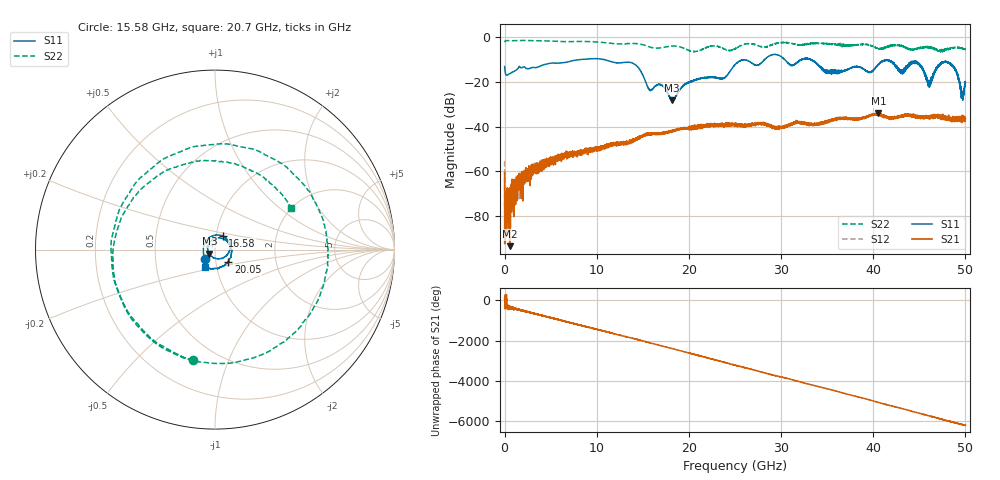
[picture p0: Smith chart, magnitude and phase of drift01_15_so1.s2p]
!Created with skrf (http://scikit-rf.org).
# Hz S RI R 50.0
!freq ReS11 ImS11 ReS21 ImS21 ReS12 ImS12 ReS22 ImS22
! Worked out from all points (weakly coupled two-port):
!   10001 points, 300 kHz to 50 GHz, reference 50 ohm
!   highest |S21| = -33.99 dB at 40.56 GHz (marker M1); lowest = -93.6 dB at 550.3 MHz (marker M2)
!   lowest |S11| = -28.2 dB at 18.15 GHz (marker M3), VSWR 1.08, Z = 46.9 - j2.11 ohm
!   |S11| at or under -10 dB: 10.87 GHz to 25.98 GHz (15.12 GHz wide, 82 % of centre); 33.26 GHz to 41.4 GHz (8.138 GHz wide, 21.8 % of centre); 41.41 GHz to end of sweep (the widest 3 of 13)
!   |S22| runs from -6.5 to -1.4 dB; largest |S21 - S12| = 0.0036
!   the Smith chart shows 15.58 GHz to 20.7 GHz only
!   S11 on the Smith chart (normalised r, x): 15.58 GHz: 0.89, -0.09; 16.58 GHz: 1.08, +0.16; 20.05 GHz: 1.15, -0.16; 20.7 GHz: 0.88, -0.17
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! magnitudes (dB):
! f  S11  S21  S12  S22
! 300 kHz  -13.1  -60.6  -55.4  -2.1
! 255.3 MHz  -16.9  -80.4  -72.9  -1.4
! 550.3 MHz  -16.3  -93.6  -70.7  -1.5
! 3.195 GHz  -13.5  -59.7  -57.8  -1.5
! 8.335 GHz  -9.9  -51.8  -52.3  -1.8
! 13.88 GHz  -11.5  -46.4  -47.0  -2.7
! 15.58 GHz  -22.6  -43.5  -43.0  -4.0
! 16.58 GHz  -21.2  -42.7  -43.3  -4.8
! 16.67 GHz  -21.1  -42.9  -43.2  -4.8
! 18.15 GHz  -28.2  -42.1  -42.1  -3.9
! 20.05 GHz  -19.9  -39.8  -40.0  -5.9
! 20.7 GHz  -19.0  -40.8  -40.5  -6.3
! 25 GHz  -12.2  -39.2  -39.1  -5.1
! 33.34 GHz  -10.1  -39.0  -38.8  -2.7
! 35.11 GHz  -15.1  -38.0  -37.1  -2.8
! 40.56 GHz  -12.1  -34.0  -34.6  -5.0
! 41.67 GHz  -10.5  -36.0  -36.3  -4.3
! 44.81 GHz  -11.3  -35.7  -35.6  -5.0
! 46.08 GHz  -21.4  -35.7  -35.7  -4.3
! 48.07 GHz  -11.0  -36.8  -36.2  -5.0
! 49.61 GHz  -25.9  -36.0  -36.4  -4.8
! 50 GHz  -20.3  -36.4  -36.4  -5.4
